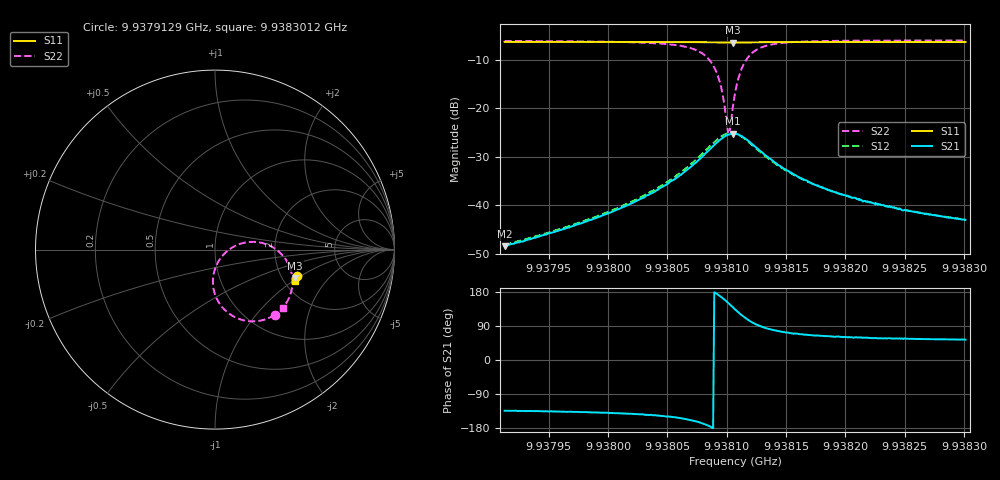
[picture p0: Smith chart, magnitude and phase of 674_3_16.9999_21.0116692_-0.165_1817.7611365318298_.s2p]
#  HZ  S  RI  R  50.00
! Rohde & Schwarz Vector Network Analyzer
! Rohde-Schwarz,ZNB20-2Port,1311601062101988,3.16
! Created: UTC 3/20/2024, 11:22:18 PM
! freq[Hz]  re:S11  im:S11  re:S21  im:S21  re:S12  im:S12  re:S22  im:S22
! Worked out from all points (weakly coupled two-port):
!   401 points, 9.9379129 GHz to 9.9383012 GHz, reference 50 ohm
!   highest |S21| = -25.26 dB at 9.9381051 GHz (marker M1); lowest = -48.5 dB at 9.9379129 GHz (marker M2)
!   lowest |S11| = -6.5 dB at 9.9381051 GHz (marker M3), VSWR 2.80, Z = 117 - j47.6 ohm
!   |S11| at or under -10 dB: nowhere
!   |S22| runs from -25.2 to -6.1 dB; largest |S21 - S12| = 0.0064
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9.93791292e9  0.4574 -0.1486  -0.00262 -0.00272  -0.00274 -0.00275  0.332 -0.3633
9.93797796e9  0.4556 -0.153  -0.0048 -0.00442  -0.00505 -0.00448  0.3083 -0.3768
9.93801484e9  0.4542 -0.1557  -0.00765 -0.00611  -0.00809 -0.00624  0.2804 -0.3885
9.93804299e9  0.4529 -0.1579  -0.0124 -0.00803  -0.0131 -0.00801  0.2379 -0.3982
9.93806823e9  0.4513 -0.1599  -0.0222 -0.00912  -0.0238 -0.0089  0.1509 -0.3918
9.93808279e9  0.4492 -0.1606  -0.0342 -0.00541  -0.0368 -0.00384  0.0541 -0.3358
9.93808861e9  0.4483 -0.1604  -0.0407 -0.000133  -0.0433 0.00273  0.0109 -0.2756
9.93809346e9  0.4473 -0.1601  -0.0455 0.00748  -0.0475 0.012  -0.0105 -0.1993
9.93809638e9  0.447 -0.1596  -0.0471 0.0135  -0.0485 0.0189  -0.0088 -0.1431
9.93810026e9  0.4465 -0.1587  -0.0472 0.0231  -0.0464 0.0294  0.0203 -0.0639
9.93810123e9  0.4465 -0.1584  -0.0465 0.0258  -0.0452 0.0318  0.0323 -0.0459
9.93810317e9  0.4467 -0.1578  -0.0443 0.0307  -0.0422 0.0365  0.0626 -0.0127
9.93810511e9  0.4468 -0.1573  -0.0416 0.0353  -0.0383 0.0406  0.0985 0.0133
9.93810705e9  0.4473 -0.157  -0.0377 0.0394  -0.0336 0.0436  0.1385 0.0316
9.93810997e9  0.4478 -0.1565  -0.0311 0.0435  -0.0263 0.0463  0.1993 0.0429
9.93811385e9  0.4486 -0.1562  -0.0214 0.0453  -0.017 0.0467  0.2731 0.0342
9.93812356e9  0.4507 -0.1572  -0.00403 0.0404  -0.00144 0.0396  0.3847 -0.0419
9.93814394e9  0.4517 -0.16  0.00619 0.025  0.00712 0.0245  0.4318 -0.1728
9.93817209e9  0.4513 -0.1629  0.00694 0.0151  0.00748 0.0149  0.4205 -0.2484
9.93821285e9  0.4502 -0.1662  0.0058 0.00976  0.00602 0.00969  0.4014 -0.2909
9.93823712e9  0.4494 -0.1679  0.00518 0.00815  0.00555 0.00802  0.3931 -0.3037
9.93830118e9  0.4475 -0.1723  0.00417 0.00567  0.00431 0.00565  0.3782 -0.3235
